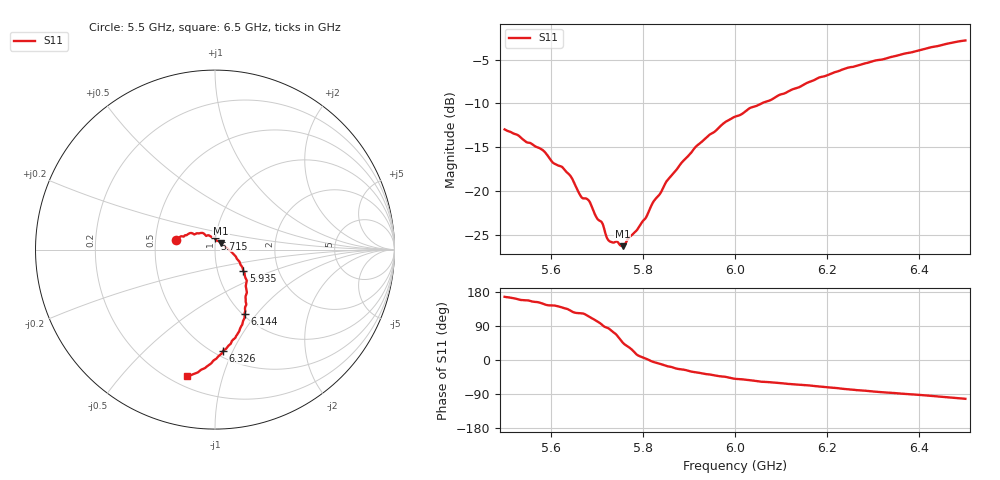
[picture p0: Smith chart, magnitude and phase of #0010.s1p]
#  HZ  S  DB  R  50.00
! Rohde & Schwarz ZVA24 4Ports - Version 3.60 - 1145.1110k28 SN: 101513
! Date: 2019-08-26 13:35:45
! Measurement: S33
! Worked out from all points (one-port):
!   801 points, 5.5 GHz to 6.5 GHz, reference 50 ohm
!   lowest |S11| = -26.3 dB at 5.756 GHz (marker M1), VSWR 1.10, Z = 53.3 + j3.72 ohm
!   |S11| at or under -10 dB: start of sweep to 6.058 GHz
!   S11 on the Smith chart (normalised r, x): 5.5 GHz: 0.64, +0.07; 5.715 GHz: 0.99, +0.12; 5.935 GHz: 1.33, -0.33; 6.144 GHz: 1.02, -0.87; 6.326 GHz: 0.55, -0.92; 6.5 GHz: 0.26, -0.77
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5.5e9  -12.99 166.8
5.58e9  -15.26 149.9
5.605e9  -16.79 144.1
5.625e9  -17.29 138.3
5.64375e9  -18.36 129.7
5.66625e9  -20.69 123.2
5.6825e9  -21.10 115.1
5.69875e9  -22.99 103.5
5.71e9  -23.55 94.5
5.715e9  -24.13 89.2
5.72625e9  -25.70 82.9
5.75e9  -26.18 55.5
5.75625e9  -26.33 46.0
5.805e9  -23.19 4.4
5.8225e9  -21.28 -5.0
5.8375e9  -20.32 -10.0
5.85125e9  -18.93 -15.9
5.875e9  -17.45 -23.2
5.915e9  -14.96 -32.3
5.935e9  -14.07 -37.0
5.9775e9  -12.20 -44.1
6e9  -11.53 -49.6
6.125e9  -8.41 -63.7
6.14375e9  -8.04 -65.4
6.25e9  -5.88 -77.7
6.32625e9  -4.91 -85.7
6.375e9  -4.27 -89.9
6.5e9  -2.82 -102.4
